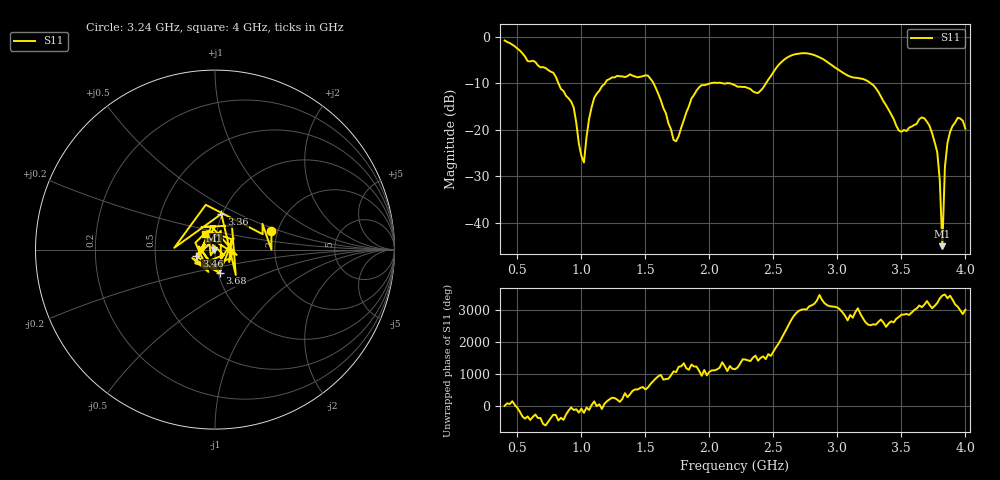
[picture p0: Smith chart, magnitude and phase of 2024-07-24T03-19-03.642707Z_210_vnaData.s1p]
!Created with skrf (http://scikit-rf.org).
# Hz S RI R 50.0
!freq ReS11 ImS11
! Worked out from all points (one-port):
!   181 points, 400 MHz to 4 GHz, reference 50 ohm
!   lowest |S11| = -45.0 dB at 3.82 GHz (marker M1), VSWR 1.01, Z = 49.5 - j0.212 ohm
!   |S11| at or under -10 dB: 820 MHz to 1.185 GHz (365 MHz wide, 36.4 % of centre); 1.563 GHz to 2.016 GHz (453.1 MHz wide, 25.3 % of centre); 3.258 GHz to end of sweep (the widest 3 of 5)
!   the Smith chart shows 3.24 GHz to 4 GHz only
!   S11 on the Smith chart (normalised r, x): 3.24 GHz: 1.85, +0.42; 3.36 GHz: 0.99, +0.41; 3.46 GHz: 0.81, -0.06; 3.68 GHz: 1.02, -0.27; 4 GHz: 0.88, +0.15
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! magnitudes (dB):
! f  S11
! 400 MHz  -0.8
! 780 MHz  -7.8
! 860 MHz  -11.7
! 940 MHz  -15.3
! 1.02 GHz  -27.1
! 1.06 GHz  -17.7
! 1.1 GHz  -13.2
! 1.3 GHz  -8.5
! 1.52 GHz  -8.4
! 1.72 GHz  -22.2
! 1.76 GHz  -21.4
! 1.92 GHz  -10.9
! 2.2 GHz  -10.5
! 2.38 GHz  -12.1
! 2.66 GHz  -3.9
! 3.1 GHz  -8.6
! 3.24 GHz  -9.6
! 3.36 GHz  -13.9
! 3.46 GHz  -19.2
! 3.56 GHz  -19.6
! 3.68 GHz  -17.6
! 3.78 GHz  -24.8
! 3.8 GHz  -30.9
! 3.82 GHz  -45.0
! 3.84 GHz  -28.0
! 3.86 GHz  -22.8
! 3.94 GHz  -17.4
! 4 GHz  -19.8
